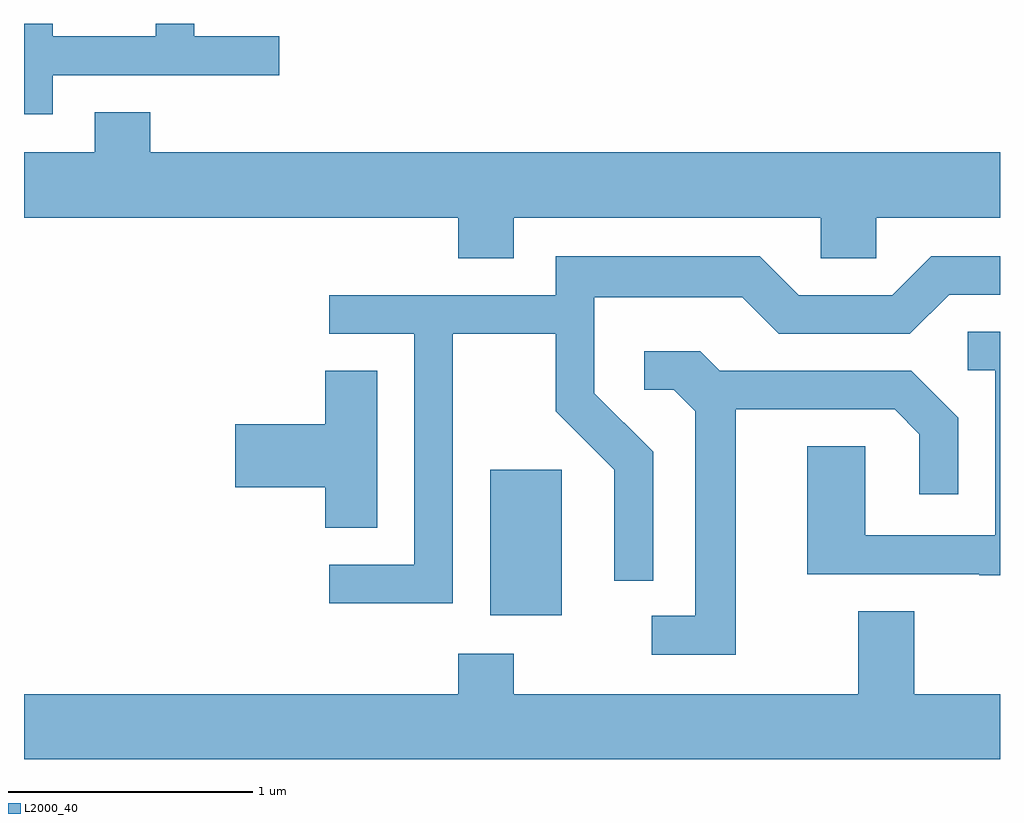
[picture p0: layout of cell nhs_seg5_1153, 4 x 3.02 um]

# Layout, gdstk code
import gdstk
lib = gdstk.Library(unit=1e-6, precision=1e-09)
def R(c, l, rs):  # rectangles x0, y0, x1, y1
    for r in rs: c.add(gdstk.rectangle(r[:2], r[2:], *l))
def P(c, l, *ps):  # polygons
    for p in ps: c.add(gdstk.Polygon(p, *l))
L2000_40 = (2000, 40)

nhs_seg5_1153 = lib.new_cell('nhs_seg5_1153')
R(nhs_seg5_1153, L2000_40, [(221.521,1419.646,221.814,1420.244)])
P(nhs_seg5_1153, L2000_40, [(219.729,1421.861),(220.658,1421.861),(220.658,1422.019),(220.309,1422.019),(220.309,1422.072),(220.151,1422.072),(220.151,1422.019),(219.729,1422.019),(219.729,1422.072),(219.611,1422.072),(219.611,1421.701),(219.729,1421.701)],
  [(221.619,1421.276),(222.876,1421.276),(222.876,1421.111),(223.104,1421.111),(223.104,1421.276),(223.611,1421.276),(223.611,1421.544),(220.129,1421.544),(220.129,1421.709),(219.901,1421.709),(219.901,1421.544),(219.611,1421.544),(219.611,1421.276),(221.391,1421.276),(221.391,1421.111),(221.619,1421.111)],
  [(221.369,1420.801),(221.791,1420.801),(221.791,1420.484),(222.031,1420.244),(222.031,1419.788),(222.189,1419.788),(222.189,1420.317),(221.949,1420.557),(221.949,1420.951),(222.554,1420.951),(222.704,1420.801),(223.242,1420.801),(223.402,1420.961),(223.611,1420.961),(223.611,1421.119),(223.329,1421.119),(223.169,1420.959),(222.787,1420.959),(222.627,1421.119),(221.791,1421.119),(221.791,1420.959),(220.863,1420.959),(220.863,1420.801),(221.211,1420.801),(221.211,1419.854),(220.863,1419.854),(220.863,1419.696),(221.369,1419.696)],
  [(223.611,1420.809),(223.478,1420.809),(223.478,1420.651),(223.591,1420.651),(223.591,1419.974),(223.059,1419.974),(223.059,1420.339),(222.821,1420.339),(222.821,1419.816),(223.525,1419.816),(223.525,1419.811),(223.611,1419.811)],
  [(222.529,1420.491),(223.179,1420.491),(223.281,1420.389),(223.281,1420.143),(223.439,1420.143),(223.439,1420.457),(223.247,1420.649),(222.462,1420.649),(222.382,1420.729),(222.153,1420.729),(222.153,1420.571),(222.274,1420.571),(222.361,1420.484),(222.361,1419.644),(222.183,1419.644),(222.183,1419.486),(222.529,1419.486)],
  [(221.059,1420.649),(220.846,1420.649),(220.846,1420.429),(220.476,1420.429),(220.476,1420.171),(220.846,1420.171),(220.846,1420.006),(221.059,1420.006)],
  [(223.611,1419.324),(223.259,1419.324),(223.259,1419.664),(223.031,1419.664),(223.031,1419.324),(221.619,1419.324),(221.619,1419.489),(221.391,1419.489),(221.391,1419.324),(219.611,1419.324),(219.611,1419.056),(223.611,1419.056)])

lib.write_gds('nhs_seg5_1153.gds')
